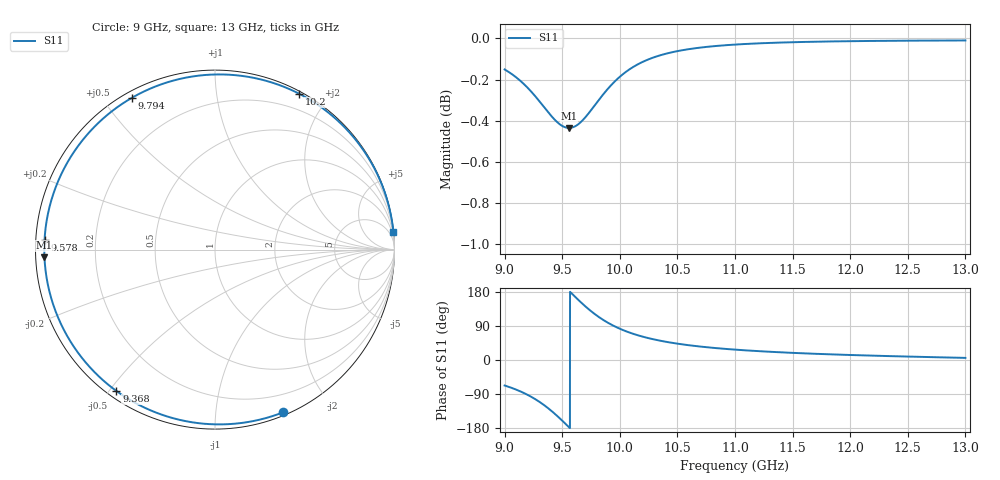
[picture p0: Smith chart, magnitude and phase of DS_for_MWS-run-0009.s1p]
! TOUCHSTONE file generated by CST DESIGN STUDIO
! Date and time: Tue Feb  4 13:56:57 2025
! Project name: C:\Work\MatlabApps\UnitCellOptimizationMatlab\CST\unitcell.cst
! Tree item: Tasks\Sweep1\SPara1\S-Parameters
! Header version: 2024
! Port assignment regex: !\s*Touchstone port\s*([0-9]+)\s*=\s*(CST MWS port|CST DES external port|CST DES block port)\s*(.+)\s* \(\"(.*)\"\)(\s*mode\s*([0-9]+))?.*
! Touchstone port assignment:
! Touchstone port 1 = CST DES external port 1 ("")
# GHz S MA R 50
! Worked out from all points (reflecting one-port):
!   4001 points, 9 GHz to 13 GHz, reference 50 ohm
!   lowest |S11| = -0.4 dB at 9.559 GHz (marker M1), VSWR 39.94, Z = 1.25 - j1.11 ohm
!   phase of S11 starts at -67 deg and turns -287 deg over the sweep
!   S11 on the Smith chart (normalised r, x): 9 GHz: 0.03, -1.50; 9.368 GHz: 0.03, -0.52; 9.578 GHz: 0.03, +0.03; 9.794 GHz: 0.02, +0.59; 10.2 GHz: 0.03, +1.68; 13 GHz: 0, +20
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9  0.9828 -67.3
9.042  0.9811 -71.5
9.108  0.9781 -79.1
9.221  0.9714 -95.4
9.299  0.9657 -109.7
9.368  0.9603 -124.9
9.432  0.9557 -141.0
9.5  0.9522 -160.0
9.559  0.9511 -177.4
9.578  0.9513 176.9
9.633  0.9528 160.6
9.693  0.9563 143.7
9.743  0.96 130.7
9.794  0.9642 118.6
9.839  0.9679 109.1
9.887  0.9715 100.0
9.94  0.9752 91.2
10  0.9788 82.5
10.095  0.9833 71.3
10.199  0.987 61.6
10.337  0.9904 51.7
10.5  0.9929 43.1
10.721  0.9951 34.7
11  0.9966 27.4
11.5  0.9979 18.8
12  0.9985 13.2
12.5  0.9988 9.0
13  0.9989 5.6
